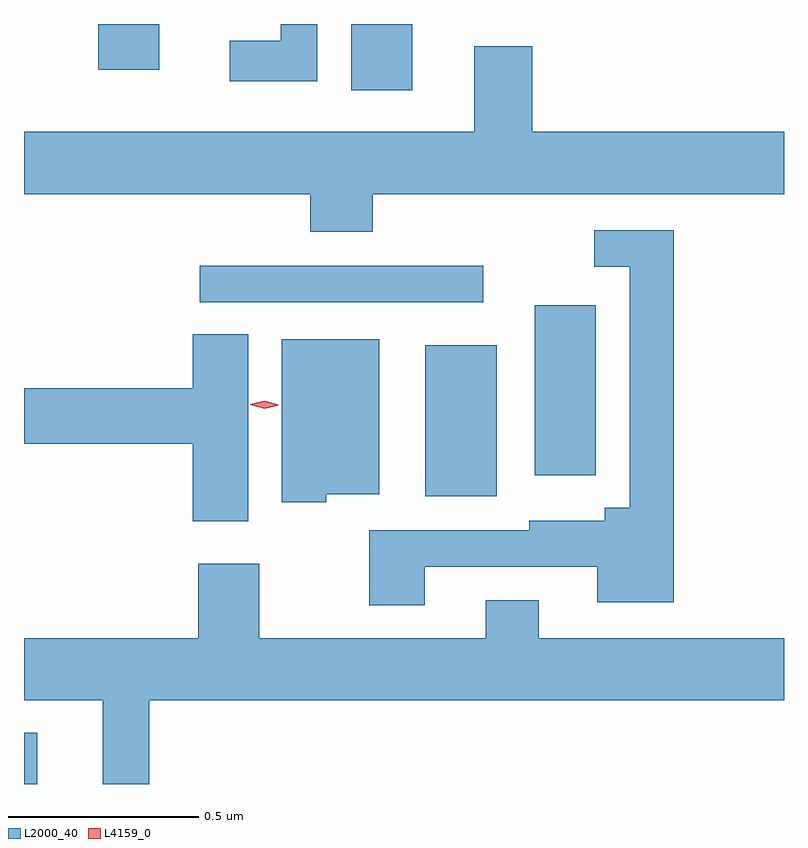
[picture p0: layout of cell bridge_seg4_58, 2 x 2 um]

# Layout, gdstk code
import gdstk
lib = gdstk.Library(unit=1e-6, precision=1e-09)
def R(c, l, rs):  # rectangles x0, y0, x1, y1
    for r in rs: c.add(gdstk.rectangle(r[:2], r[2:], *l))
def P(c, l, *ps):  # polygons
    for p in ps: c.add(gdstk.Polygon(p, *l))
L2000_40 = (2000, 40)
L4159_0 = (4159, 0)

bridge_seg4_58 = lib.new_cell('bridge_seg4_58')
R(bridge_seg4_58, L2000_40, [(735.446,788.608,735.481,788.743), (736.502,789.365,736.69,789.763), (736.79,789.42,736.951,789.868), (735.909,789.876,736.654,789.972), (736.307,790.434,736.468,790.608), (735.641,790.488,735.802,790.608)])
P(bridge_seg4_58, L2000_40, [(736.218,790.608),(736.122,790.608),(736.122,790.564),(735.987,790.564),(735.987,790.457),(736.218,790.457)],
  [(736.364,790.16),(737.446,790.16),(737.446,790.324),(736.784,790.324),(736.784,790.549),(736.631,790.549),(736.631,790.324),(735.446,790.324),(735.446,790.16),(736.199,790.16),(736.199,790.061),(736.364,790.061)],
  [(736.501,789.18),(736.955,789.18),(736.955,789.086),(737.156,789.086),(737.156,790.065),(736.947,790.065),(736.947,789.969),(737.04,789.969),(737.04,789.335),(736.974,789.335),(736.974,789.301),(736.776,789.301),(736.776,789.276),(736.354,789.276),(736.354,789.078),(736.501,789.078)],
  [(736.036,789.791),(735.89,789.791),(735.89,789.65),(735.446,789.65),(735.446,789.503),(735.89,789.503),(735.89,789.3),(736.036,789.3)],
  [(736.242,789.371),(736.381,789.371),(736.381,789.778),(736.124,789.778),(736.124,789.35),(736.242,789.35)],
  [(735.776,788.828),(737.446,788.828),(737.446,788.992),(736.801,788.992),(736.801,789.091),(736.661,789.091),(736.661,788.992),(736.065,788.992),(736.065,789.187),(735.905,789.187),(735.905,788.992),(735.446,788.992),(735.446,788.828),(735.653,788.828),(735.653,788.608),(735.776,788.608)])
P(bridge_seg4_58, L4159_0, [(736.079,789.596),(736.042,789.606),(736.042,789.606),(736.042,789.607),(736.079,789.616),(736.117,789.606),(736.117,789.605),(736.117,789.605)])

lib.write_gds('bridge_seg4_58.gds')
